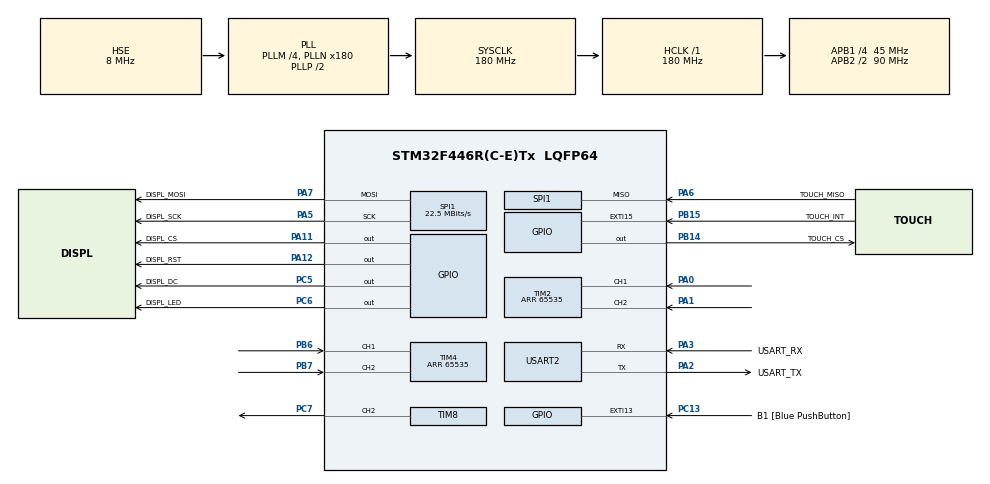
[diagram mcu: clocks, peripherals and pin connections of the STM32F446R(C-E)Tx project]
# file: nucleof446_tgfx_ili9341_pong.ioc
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Dma.Request0=SPI1_TX
Dma.SPI1_TX.0.Direction=DMA_MEMORY_TO_PERIPH
Dma.SPI1_TX.0.FIFOMode=DMA_FIFOMODE_DISABLE
Dma.SPI1_TX.0.Instance=DMA2_Stream3
Dma.SPI1_TX.0.MemDataAlignment=DMA_MDATAALIGN_BYTE
Dma.SPI1_TX.0.MemInc=DMA_MINC_ENABLE
Dma.SPI1_TX.0.Mode=DMA_NORMAL
Dma.SPI1_TX.0.PeriphDataAlignment=DMA_PDATAALIGN_BYTE
Dma.SPI1_TX.0.PeriphInc=DMA_PINC_DISABLE
Dma.SPI1_TX.0.Priority=DMA_PRIORITY_LOW
Mcu.Family=STM32F4
Mcu.Name=STM32F446R(C-E)Tx
Mcu.Package=LQFP64
NVIC.DMA2_Stream3_IRQn=true\:0\:0\:false\:false\:true\:false\:true\:true
NVIC.EXTI15_10_IRQn=true\:0\:0\:false\:false\:true\:true\:true\:true
NVIC.PriorityGroup=NVIC_PRIORITYGROUP_0
NVIC.SPI1_IRQn=true\:0\:0\:false\:false\:true\:true\:true\:true
NVIC.TIM2_IRQn=true\:0\:0\:false\:false\:true\:true\:true\:true
NVIC.TIM3_IRQn=true\:0\:0\:false\:false\:true\:true\:true\:true
NVIC.TIM4_IRQn=true\:0\:0\:false\:false\:true\:true\:true\:true
NVIC.TIM8_UP_TIM13_IRQn=true\:0\:0\:false\:false\:true\:true\:true\:true
PA0-WKUP.Signal=S_TIM2_CH1_ETR
PA1.Signal=S_TIM2_CH2
PA11.GPIO_Label=DISPL_CS
PA11.PinState=GPIO_PIN_SET
PA11.Signal=GPIO_Output
PA12.GPIO_Label=DISPL_RST
PA12.Signal=GPIO_Output
PA13.GPIO_Label=TMS
PA13.Mode=Trace_Asynchronous_SW
PA13.Signal=SYS_JTMS-SWDIO
PA14.GPIO_Label=TCK
PA14.Mode=Trace_Asynchronous_SW
PA14.Signal=SYS_JTCK-SWCLK
PA2.GPIO_Label=USART_TX
PA2.Mode=Asynchronous
PA2.Signal=USART2_TX
PA3.GPIO_Label=USART_RX
PA3.Mode=Asynchronous
PA3.Signal=USART2_RX
PA5.GPIO_Label=DISPL_SCK
PA5.Mode=Full_Duplex_Master
PA5.Signal=SPI1_SCK
PA6.GPIO_Label=TOUCH_MISO
PA6.Mode=Full_Duplex_Master
PA6.Signal=SPI1_MISO
PA7.GPIO_Label=DISPL_MOSI
PA7.Mode=Full_Duplex_Master
PA7.Signal=SPI1_MOSI
PB14.GPIO_Label=TOUCH_CS
PB14.PinState=GPIO_PIN_SET
PB14.Signal=GPIO_Output
PB15.GPIO_Label=TOUCH_INT
PB15.GPIO_ModeDefaultEXTI=GPIO_MODE_IT_FALLING
PB15.GPIO_PuPd=GPIO_PULLUP
PB15.Signal=GPXTI15
PB3.Mode=Trace_Asynchronous_SW
PB3.Signal=SYS_JTDO-SWO
PB6.Signal=S_TIM4_CH1
PB7.Signal=S_TIM4_CH2
PC13.GPIO_Label=B1 [Blue PushButton]
PC13.GPIO_ModeDefaultEXTI=GPIO_MODE_IT_FALLING
PC13.Signal=GPXTI13
PC14-OSC32_IN.Mode=LSE-External-Oscillator
PC14-OSC32_IN.Signal=RCC_OSC32_IN
PC15-OSC32_OUT.Mode=LSE-External-Oscillator
PC15-OSC32_OUT.Signal=RCC_OSC32_OUT
PC5.GPIO_Label=DISPL_DC
PC5.PinState=GPIO_PIN_SET
PC5.Signal=GPIO_Output
PC6.GPIO_Label=DISPL_LED
PC6.Signal=GPIO_Output
PC7.Signal=S_TIM8_CH2
PH0-OSC_IN.Mode=HSE-External-Oscillator
PH0-OSC_IN.Signal=RCC_OSC_IN
PH1-OSC_OUT.Mode=HSE-External-Oscillator
PH1-OSC_OUT.Signal=RCC_OSC_OUT
ProjectManager.HeapSize=0x200
ProjectManager.StackSize=0x400
ProjectManager.TargetToolchain=STM32CubeIDE
RCC.48MHZClocksFreq_Value=84000000
RCC.AHBFreq_Value=180000000
RCC.APB1CLKDivider=RCC_HCLK_DIV4
RCC.APB1Freq_Value=45000000
RCC.APB1TimFreq_Value=90000000
RCC.APB2CLKDivider=RCC_HCLK_DIV2
RCC.APB2Freq_Value=90000000
RCC.APB2TimFreq_Value=180000000
RCC.CortexFreq_Value=180000000
RCC.FLatency-AdvancedSettings=FLASH_LATENCY_5
RCC.HCLKFreq_Value=180000000
RCC.HSE_VALUE=8000000
RCC.HSI_VALUE=16000000
RCC.PLLM=4
RCC.PLLN=180
RCC.PLLSourceVirtual=RCC_PLLSOURCE_HSE
RCC.SYSCLKFreq_VALUE=180000000
RCC.SYSCLKSource=RCC_SYSCLKSOURCE_PLLCLK
RCC.USBFreq_Value=180000000
RCC.VCOOutputFreq_Value=360000000
SH.S_TIM2_CH1_ETR.0=TIM2_CH1,Encoder_Interface
SH.S_TIM2_CH2.0=TIM2_CH2,Encoder_Interface
SH.S_TIM4_CH1.0=TIM4_CH1,Encoder_Interface
SH.S_TIM4_CH2.0=TIM4_CH2,Encoder_Interface
SH.S_TIM8_CH2.0=TIM8_CH2,PWM Generation2 CH2
SPI1.BaudRatePrescaler=SPI_BAUDRATEPRESCALER_4
SPI1.CalculateBaudRate=22.5 MBits/s
SPI1.Direction=SPI_DIRECTION_2LINES
SPI1.Mode=SPI_MODE_MASTER
SPI1.VirtualType=VM_MASTER
STMicroelectronics.X-CUBE-TOUCHGFX.4.26.0.ApplicationCcGraphicsJjApplication=TouchGFXOoGenerator
STMicroelectronics.X-CUBE-TOUCHGFX.4.26.0.tgfx_block_size=1920
STMicroelectronics.X-CUBE-TOUCHGFX.4.26.0.tgfx_buffering_strategy=Partial
STMicroelectronics.X-CUBE-TOUCHGFX.4.26.0.tgfx_custom_height=240
STMicroelectronics.X-CUBE-TOUCHGFX.4.26.0.tgfx_custom_width=320
STMicroelectronics.X-CUBE-TOUCHGFX.4.26.0.tgfx_nema_cl_size=8192
STMicroelectronics.X-CUBE-TOUCHGFX.4.26.0_IsPackSelfContextualization=true
TIM2.AutoReloadPreload=TIM_AUTORELOAD_PRELOAD_ENABLE
TIM2.EncoderMode=TIM_ENCODERMODE_TI12
TIM2.IC1Filter=10
TIM2.IC2Filter=10
TIM2.Period=65535
TIM3.Period=50-1
TIM3.Prescaler=30000-1
TIM4.AutoReloadPreload=TIM_AUTORELOAD_PRELOAD_ENABLE
TIM4.EncoderMode=TIM_ENCODERMODE_TI12
TIM4.IC1Filter=10
TIM4.IC2Filter=10
TIM4.Period=65535
TIM8.AutoReloadPreload=TIM_AUTORELOAD_PRELOAD_ENABLE
TIM8.Channel-PWM\ Generation2\ CH2=TIM_CHANNEL_2
TIM8.Period=100-1
TIM8.Prescaler=900-1
TIM8.Pulse-PWM\ Generation2\ CH2=50-1
USART2.VirtualMode=VM_ASYNC
VP_CRC_VS_CRC.Mode=CRC_Activate
VP_STMicroelectronics.X-CUBE-TOUCHGFX_VS_GraphicsJjApplication_4.26.0.Mode=GraphicsJjApplication
VP_TIM3_VS_ClockSourceINT.Mode=Internal
board=NUCLEO-F446RE

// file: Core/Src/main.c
/* USER CODE BEGIN Header */
/**
  ******************************************************************************
  * @file           : main.c
  * @brief          : Main program body
  ******************************************************************************
  * @attention
  *
  * Copyright (c) 2023 STMicroelectronics.
  * All rights reserved.
  *
  * This software is licensed under terms that can be found in the LICENSE file
  * in the root directory of this software component.
  * If no LICENSE file comes with this software, it is provided AS-IS.
  *
  ******************************************************************************
  */
/* USER CODE END Header */
#include "main.h"
#include "app_touchgfx.h"

CRC_HandleTypeDef hcrc;

SPI_HandleTypeDef hspi1;
DMA_HandleTypeDef hdma_spi1_tx;

TIM_HandleTypeDef htim2;
TIM_HandleTypeDef htim3;
TIM_HandleTypeDef htim4;
TIM_HandleTypeDef htim8;

UART_HandleTypeDef huart2;

void SystemClock_Config(void);
static void MX_GPIO_Init(void);
static void MX_DMA_Init(void);
static void MX_USART2_UART_Init(void);
static void MX_CRC_Init(void);
static void MX_SPI1_Init(void);
static void MX_TIM3_Init(void);
static void MX_TIM2_Init(void);
static void MX_TIM4_Init(void);
static void MX_TIM8_Init(void);

/* USER CODE BEGIN 0 */
int16_t lcounter=0;
int16_t rcounter=0;
/* USER CODE END 0 */

int main(void)
{

  /* MCU Configuration--------------------------------------------------------*/

  /* Reset of all peripherals, Initializes the Flash interface and the Systick. */
  HAL_Init();

  /* Configure the system clock */
  SystemClock_Config();

  /* Initialize all configured peripherals */
  MX_GPIO_Init();
  MX_DMA_Init();
  MX_USART2_UART_Init();
  MX_CRC_Init();
  MX_SPI1_Init();
  MX_TIM3_Init();
  MX_TIM2_Init();
  MX_TIM4_Init();
  MX_TIM8_Init();
  MX_TouchGFX_Init();
  /* USER CODE BEGIN 2 */
  Displ_Init(Displ_Orientat_90);			// initialize display controller - set orientation parameter as per TouchGFX setup
  Displ_BackLight('I');  				// initialize backlight
  HAL_TIM_Base_Start_IT(&TGFX_T);		// start TouchGFX tick timer
  Displ_BackLight('1');

  HAL_TIM_Encoder_Start_IT(&htim2, TIM_CHANNEL_ALL);
  HAL_TIM_Encoder_Start_IT(&htim4, TIM_CHANNEL_ALL);

  /* USER CODE END 2 */

  /* Infinite loop */
  while (1)
  {

  MX_TouchGFX_Process();
  }
}

void SystemClock_Config(void)
{
  RCC_OscInitTypeDef RCC_OscInitStruct = {0};
  RCC_ClkInitTypeDef RCC_ClkInitStruct = {0};

  /** Configure the main internal regulator output voltage
  */
  __HAL_RCC_PWR_CLK_ENABLE();
  __HAL_PWR_VOLTAGESCALING_CONFIG(PWR_REGULATOR_VOLTAGE_SCALE1);

  /** Initializes the RCC Oscillators according to the specified parameters
  * in the RCC_OscInitTypeDef structure.
  */
  RCC_OscInitStruct.OscillatorType = RCC_OSCILLATORTYPE_HSE;
  RCC_OscInitStruct.HSEState = RCC_HSE_ON;
  RCC_OscInitStruct.PLL.PLLState = RCC_PLL_ON;
  RCC_OscInitStruct.PLL.PLLSource = RCC_PLLSOURCE_HSE;
  RCC_OscInitStruct.PLL.PLLM = 4;
  RCC_OscInitStruct.PLL.PLLN = 180;
  RCC_OscInitStruct.PLL.PLLP = RCC_PLLP_DIV2;
  RCC_OscInitStruct.PLL.PLLQ = 2;
  RCC_OscInitStruct.PLL.PLLR = 2;
  if (HAL_RCC_OscConfig(&RCC_OscInitStruct) != HAL_OK)
  {
    Error_Handler();
  }

  /** Activate the Over-Drive mode
  */
  if (HAL_PWREx_EnableOverDrive() != HAL_OK)
  {
    Error_Handler();
  }

  /** Initializes the CPU, AHB and APB buses clocks
  */
  RCC_ClkInitStruct.ClockType = RCC_CLOCKTYPE_HCLK|RCC_CLOCKTYPE_SYSCLK
                              |RCC_CLOCKTYPE_PCLK1|RCC_CLOCKTYPE_PCLK2;
  RCC_ClkInitStruct.SYSCLKSource = RCC_SYSCLKSOURCE_PLLCLK;
  RCC_ClkInitStruct.AHBCLKDivider = RCC_SYSCLK_DIV1;
  RCC_ClkInitStruct.APB1CLKDivider = RCC_HCLK_DIV4;
  RCC_ClkInitStruct.APB2CLKDivider = RCC_HCLK_DIV2;

  if (HAL_RCC_ClockConfig(&RCC_ClkInitStruct, FLASH_LATENCY_5) != HAL_OK)
  {
    Error_Handler();
  }
}

static void MX_CRC_Init(void)
{

  hcrc.Instance = CRC;
  if (HAL_CRC_Init(&hcrc) != HAL_OK)
  {
    Error_Handler();
  }

}

static void MX_SPI1_Init(void)
{

  /* SPI1 parameter configuration*/
  hspi1.Instance = SPI1;
  hspi1.Init.Mode = SPI_MODE_MASTER;
  hspi1.Init.Direction = SPI_DIRECTION_2LINES;
  hspi1.Init.DataSize = SPI_DATASIZE_8BIT;
  hspi1.Init.CLKPolarity = SPI_POLARITY_LOW;
  hspi1.Init.CLKPhase = SPI_PHASE_1EDGE;
  hspi1.Init.NSS = SPI_NSS_SOFT;
  hspi1.Init.BaudRatePrescaler = SPI_BAUDRATEPRESCALER_4;
  hspi1.Init.FirstBit = SPI_FIRSTBIT_MSB;
  hspi1.Init.TIMode = SPI_TIMODE_DISABLE;
  hspi1.Init.CRCCalculation = SPI_CRCCALCULATION_DISABLE;
  hspi1.Init.CRCPolynomial = 10;
  if (HAL_SPI_Init(&hspi1) != HAL_OK)
  {
    Error_Handler();
  }

}

static void MX_TIM2_Init(void)
{

  TIM_Encoder_InitTypeDef sConfig = {0};
  TIM_MasterConfigTypeDef sMasterConfig = {0};

  htim2.Instance = TIM2;
  htim2.Init.Prescaler = 0;
  htim2.Init.CounterMode = TIM_COUNTERMODE_UP;
  htim2.Init.Period = 65535;
  htim2.Init.ClockDivision = TIM_CLOCKDIVISION_DIV1;
  htim2.Init.AutoReloadPreload = TIM_AUTORELOAD_PRELOAD_ENABLE;
  sConfig.EncoderMode = TIM_ENCODERMODE_TI12;
  sConfig.IC1Polarity = TIM_ICPOLARITY_RISING;
  sConfig.IC1Selection = TIM_ICSELECTION_DIRECTTI;
  sConfig.IC1Prescaler = TIM_ICPSC_DIV1;
  sConfig.IC1Filter = 10;
  sConfig.IC2Polarity = TIM_ICPOLARITY_RISING;
  sConfig.IC2Selection = TIM_ICSELECTION_DIRECTTI;
  sConfig.IC2Prescaler = TIM_ICPSC_DIV1;
  sConfig.IC2Filter = 10;
  if (HAL_TIM_Encoder_Init(&htim2, &sConfig) != HAL_OK)
  {
    Error_Handler();
  }
  sMasterConfig.MasterOutputTrigger = TIM_TRGO_RESET;
  sMasterConfig.MasterSlaveMode = TIM_MASTERSLAVEMODE_DISABLE;
  if (HAL_TIMEx_MasterConfigSynchronization(&htim2, &sMasterConfig) != HAL_OK)
  {
    Error_Handler();
  }

}

static void MX_TIM3_Init(void)
{

  TIM_ClockConfigTypeDef sClockSourceConfig = {0};
  TIM_MasterConfigTypeDef sMasterConfig = {0};

  htim3.Instance = TIM3;
  htim3.Init.Prescaler = 30000-1;
  htim3.Init.CounterMode = TIM_COUNTERMODE_UP;
  htim3.Init.Period = 50-1;
  htim3.Init.ClockDivision = TIM_CLOCKDIVISION_DIV1;
  htim3.Init.AutoReloadPreload = TIM_AUTORELOAD_PRELOAD_DISABLE;
  if (HAL_TIM_Base_Init(&htim3) != HAL_OK)
  {
    Error_Handler();
  }
  sClockSourceConfig.ClockSource = TIM_CLOCKSOURCE_INTERNAL;
  if (HAL_TIM_ConfigClockSource(&htim3, &sClockSourceConfig) != HAL_OK)
  {
    Error_Handler();
  }
  sMasterConfig.MasterOutputTrigger = TIM_TRGO_RESET;
  sMasterConfig.MasterSlaveMode = TIM_MASTERSLAVEMODE_DISABLE;
  if (HAL_TIMEx_MasterConfigSynchronization(&htim3, &sMasterConfig) != HAL_OK)
  {
    Error_Handler();
  }

}

static void MX_TIM4_Init(void)
{

  TIM_Encoder_InitTypeDef sConfig = {0};
  TIM_MasterConfigTypeDef sMasterConfig = {0};

  htim4.Instance = TIM4;
  htim4.Init.Prescaler = 0;
  htim4.Init.CounterMode = TIM_COUNTERMODE_UP;
  htim4.Init.Period = 65535;
  htim4.Init.ClockDivision = TIM_CLOCKDIVISION_DIV1;
  htim4.Init.AutoReloadPreload = TIM_AUTORELOAD_PRELOAD_ENABLE;
  sConfig.EncoderMode = TIM_ENCODERMODE_TI12;
  sConfig.IC1Polarity = TIM_ICPOLARITY_RISING;
  sConfig.IC1Selection = TIM_ICSELECTION_DIRECTTI;
  sConfig.IC1Prescaler = TIM_ICPSC_DIV1;
  sConfig.IC1Filter = 10;
  sConfig.IC2Polarity = TIM_ICPOLARITY_RISING;
  sConfig.IC2Selection = TIM_ICSELECTION_DIRECTTI;
  sConfig.IC2Prescaler = TIM_ICPSC_DIV1;
  sConfig.IC2Filter = 10;
  if (HAL_TIM_Encoder_Init(&htim4, &sConfig) != HAL_OK)
  {
    Error_Handler();
  }
  sMasterConfig.MasterOutputTrigger = TIM_TRGO_RESET;
  sMasterConfig.MasterSlaveMode = TIM_MASTERSLAVEMODE_DISABLE;
  if (HAL_TIMEx_MasterConfigSynchronization(&htim4, &sMasterConfig) != HAL_OK)
  {
    Error_Handler();
  }

}

static void MX_TIM8_Init(void)
{

  TIM_MasterConfigTypeDef sMasterConfig = {0};
  TIM_OC_InitTypeDef sConfigOC = {0};
  TIM_BreakDeadTimeConfigTypeDef sBreakDeadTimeConfig = {0};

  htim8.Instance = TIM8;
  htim8.Init.Prescaler = 900-1;
  htim8.Init.CounterMode = TIM_COUNTERMODE_UP;
  htim8.Init.Period = 100-1;
  htim8.Init.ClockDivision = TIM_CLOCKDIVISION_DIV1;
  htim8.Init.RepetitionCounter = 0;
  htim8.Init.AutoReloadPreload = TIM_AUTORELOAD_PRELOAD_ENABLE;
  if (HAL_TIM_PWM_Init(&htim8) != HAL_OK)
  {
    Error_Handler();
  }
  sMasterConfig.MasterOutputTrigger = TIM_TRGO_RESET;
  sMasterConfig.MasterSlaveMode = TIM_MASTERSLAVEMODE_DISABLE;
  if (HAL_TIMEx_MasterConfigSynchronization(&htim8, &sMasterConfig) != HAL_OK)
  {
    Error_Handler();
  }
  sConfigOC.OCMode = TIM_OCMODE_PWM1;
  sConfigOC.Pulse = 50-1;
  sConfigOC.OCPolarity = TIM_OCPOLARITY_HIGH;
  sConfigOC.OCNPolarity = TIM_OCNPOLARITY_HIGH;
  sConfigOC.OCFastMode = TIM_OCFAST_DISABLE;
  sConfigOC.OCIdleState = TIM_OCIDLESTATE_RESET;
  sConfigOC.OCNIdleState = TIM_OCNIDLESTATE_RESET;
  if (HAL_TIM_PWM_ConfigChannel(&htim8, &sConfigOC, TIM_CHANNEL_2) != HAL_OK)
  {
    Error_Handler();
  }
  sBreakDeadTimeConfig.OffStateRunMode = TIM_OSSR_DISABLE;
  sBreakDeadTimeConfig.OffStateIDLEMode = TIM_OSSI_DISABLE;
  sBreakDeadTimeConfig.LockLevel = TIM_LOCKLEVEL_OFF;
  sBreakDeadTimeConfig.DeadTime = 0;
  sBreakDeadTimeConfig.BreakState = TIM_BREAK_DISABLE;
  sBreakDeadTimeConfig.BreakPolarity = TIM_BREAKPOLARITY_HIGH;
  sBreakDeadTimeConfig.AutomaticOutput = TIM_AUTOMATICOUTPUT_DISABLE;
  if (HAL_TIMEx_ConfigBreakDeadTime(&htim8, &sBreakDeadTimeConfig) != HAL_OK)
  {
    Error_Handler();
  }
  HAL_TIM_MspPostInit(&htim8);

}

static void MX_USART2_UART_Init(void)
{

  huart2.Instance = USART2;
  huart2.Init.BaudRate = 115200;
  huart2.Init.WordLength = UART_WORDLENGTH_8B;
  huart2.Init.StopBits = UART_STOPBITS_1;
  huart2.Init.Parity = UART_PARITY_NONE;
  huart2.Init.Mode = UART_MODE_TX_RX;
  huart2.Init.HwFlowCtl = UART_HWCONTROL_NONE;
  huart2.Init.OverSampling = UART_OVERSAMPLING_16;
  if (HAL_UART_Init(&huart2) != HAL_OK)
  {
    Error_Handler();
  }

}

static void MX_DMA_Init(void)
{

  /* DMA controller clock enable */
  __HAL_RCC_DMA2_CLK_ENABLE();

  /* DMA interrupt init */
  /* DMA2_Stream3_IRQn interrupt configuration */
  HAL_NVIC_SetPriority(DMA2_Stream3_IRQn, 0, 0);
  HAL_NVIC_EnableIRQ(DMA2_Stream3_IRQn);

}

static void MX_GPIO_Init(void)
{
  GPIO_InitTypeDef GPIO_InitStruct = {0};

  /* GPIO Ports Clock Enable */
  __HAL_RCC_GPIOC_CLK_ENABLE();
  __HAL_RCC_GPIOH_CLK_ENABLE();
  __HAL_RCC_GPIOA_CLK_ENABLE();
  __HAL_RCC_GPIOB_CLK_ENABLE();

  /*Configure GPIO pin Output Level */
  HAL_GPIO_WritePin(DISPL_DC_GPIO_Port, DISPL_DC_Pin, GPIO_PIN_SET);

  /*Configure GPIO pin Output Level */
  HAL_GPIO_WritePin(TOUCH_CS_GPIO_Port, TOUCH_CS_Pin, GPIO_PIN_SET);

  /*Configure GPIO pin Output Level */
  HAL_GPIO_WritePin(DISPL_LED_GPIO_Port, DISPL_LED_Pin, GPIO_PIN_RESET);

  /*Configure GPIO pin Output Level */
  HAL_GPIO_WritePin(DISPL_CS_GPIO_Port, DISPL_CS_Pin, GPIO_PIN_SET);

  /*Configure GPIO pin Output Level */
  HAL_GPIO_WritePin(DISPL_RST_GPIO_Port, DISPL_RST_Pin, GPIO_PIN_RESET);

  /*Configure GPIO pin : B1_Pin */
  GPIO_InitStruct.Pin = B1_Pin;
  GPIO_InitStruct.Mode = GPIO_MODE_IT_FALLING;
  GPIO_InitStruct.Pull = GPIO_NOPULL;
  HAL_GPIO_Init(B1_GPIO_Port, &GPIO_InitStruct);

  /*Configure GPIO pins : DISPL_DC_Pin DISPL_LED_Pin */
  GPIO_InitStruct.Pin = DISPL_DC_Pin|DISPL_LED_Pin;
  GPIO_InitStruct.Mode = GPIO_MODE_OUTPUT_PP;
  GPIO_InitStruct.Pull = GPIO_NOPULL;
  GPIO_InitStruct.Speed = GPIO_SPEED_FREQ_LOW;
  HAL_GPIO_Init(GPIOC, &GPIO_InitStruct);

  /*Configure GPIO pin : TOUCH_CS_Pin */
  GPIO_InitStruct.Pin = TOUCH_CS_Pin;
  GPIO_InitStruct.Mode = GPIO_MODE_OUTPUT_PP;
  GPIO_InitStruct.Pull = GPIO_NOPULL;
  GPIO_InitStruct.Speed = GPIO_SPEED_FREQ_LOW;
  HAL_GPIO_Init(TOUCH_CS_GPIO_Port, &GPIO_InitStruct);

  /*Configure GPIO pin : TOUCH_INT_Pin */
  GPIO_InitStruct.Pin = TOUCH_INT_Pin;
  GPIO_InitStruct.Mode = GPIO_MODE_IT_FALLING;
  GPIO_InitStruct.Pull = GPIO_PULLUP;
  HAL_GPIO_Init(TOUCH_INT_GPIO_Port, &GPIO_InitStruct);

  /*Configure GPIO pins : DISPL_CS_Pin DISPL_RST_Pin */
  GPIO_InitStruct.Pin = DISPL_CS_Pin|DISPL_RST_Pin;
  GPIO_InitStruct.Mode = GPIO_MODE_OUTPUT_PP;
  GPIO_InitStruct.Pull = GPIO_NOPULL;
  GPIO_InitStruct.Speed = GPIO_SPEED_FREQ_LOW;
  HAL_GPIO_Init(GPIOA, &GPIO_InitStruct);

  /* EXTI interrupt init*/
  HAL_NVIC_SetPriority(EXTI15_10_IRQn, 0, 0);
  HAL_NVIC_EnableIRQ(EXTI15_10_IRQn);

}

/* USER CODE BEGIN 4 */
void HAL_TIM_IC_CaptureCallback (TIM_HandleTypeDef *htim){
	if(htim == &htim2){
		lcounter = __HAL_TIM_GET_COUNTER(htim);
		if(lcounter<-25)
		{
			lcounter=-25;
		}

		if(lcounter>25) {
			lcounter=25;
		}

		__HAL_TIM_SET_COUNTER(htim, lcounter);
	}

	if(htim == &htim4){
		rcounter = __HAL_TIM_GET_COUNTER(htim);
		if(rcounter<-25)
		{
			rcounter=-25;
		}

		if(rcounter>25) {
			rcounter=25;
		}

		__HAL_TIM_SET_COUNTER(htim, rcounter);
	}
}

int __io_putchar(int ch){
	ITM_SendChar(ch);
	return 0;
}
/* USER CODE END 4 */

void Error_Handler(void)
{
  __disable_irq();
  while (1)
  {
  }
}
